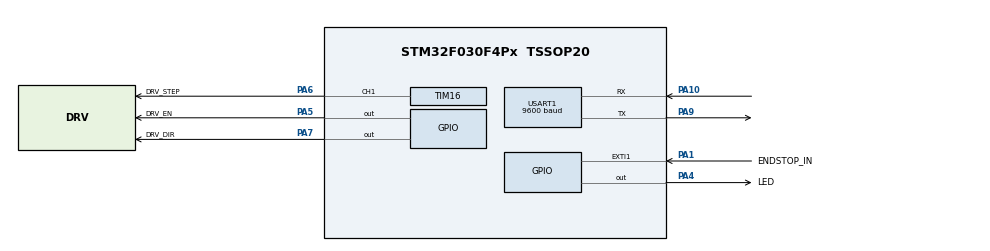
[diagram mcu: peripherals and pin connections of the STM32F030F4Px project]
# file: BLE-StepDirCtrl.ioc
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Mcu.Family=STM32F0
Mcu.Name=STM32F030F4Px
Mcu.Package=TSSOP20
NVIC.EXTI0_1_IRQn=true\:0\:0\:false\:false\:true\:true\:true
NVIC.TIM16_IRQn=true\:0\:0\:false\:false\:true\:true\:true
NVIC.USART1_IRQn=true\:0\:0\:false\:false\:true\:true\:true
PA1.GPIO_Label=ENDSTOP_IN
PA1.GPIO_ModeDefaultEXTI=GPIO_MODE_IT_FALLING
PA1.GPIO_PuPd=GPIO_PULLUP
PA1.Signal=GPXTI1
PA10.Mode=Asynchronous
PA10.Signal=USART1_RX
PA13.Mode=Serial_Wire
PA13.Signal=SYS_SWDIO
PA14.Mode=Serial_Wire
PA14.Signal=SYS_SWCLK
PA4.GPIO_Label=LED
PA4.PinState=GPIO_PIN_SET
PA4.Signal=GPIO_Output
PA5.GPIO_Label=DRV_EN
PA5.GPIO_Speed=GPIO_SPEED_FREQ_HIGH
PA5.PinState=GPIO_PIN_SET
PA5.Signal=GPIO_Output
PA6.GPIO_Label=DRV_STEP
PA6.Signal=S_TIM16_CH1
PA7.GPIO_Label=DRV_DIR
PA7.GPIO_Speed=GPIO_SPEED_FREQ_HIGH
PA7.PinState=GPIO_PIN_RESET
PA7.Signal=GPIO_Output
PA9.Mode=Asynchronous
PA9.Signal=USART1_TX
PF0-OSC_IN.Mode=HSE-External-Oscillator
PF0-OSC_IN.Signal=RCC_OSC_IN
PF1-OSC_OUT.Mode=HSE-External-Oscillator
PF1-OSC_OUT.Signal=RCC_OSC_OUT
ProjectManager.HeapSize=0x200
ProjectManager.StackSize=0x400
ProjectManager.TargetToolchain=STM32CubeIDE
RCC.AHBFreq_Value=48000000
RCC.APB1Freq_Value=48000000
RCC.APB1TimFreq_Value=48000000
RCC.EnbaleCSS=true
RCC.HCLKFreq_Value=48000000
RCC.PLLMUL=RCC_PLL_MUL6
RCC.PLLSourceVirtual=RCC_PLLSOURCE_HSE
RCC.SYSCLKFreq_VALUE=48000000
RCC.SYSCLKSource=RCC_SYSCLKSOURCE_PLLCLK
SH.S_TIM16_CH1.0=TIM16_CH1,PWM Generation1 CH1
TIM16.Channel=TIM_CHANNEL_1
TIM16.Period=500
TIM16.Prescaler=47
TIM16.Pulse=100
USART1.BaudRate=9600
USART1.VirtualMode-Asynchronous=VM_ASYNC
VP_TIM16_VS_ClockSourceINT.Mode=Enable_Timer
board=custom

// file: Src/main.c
/* USER CODE BEGIN Header */
/**
  ****************************************************************************************
  * @file           : main.c
  * @brief          : Main program body
  * @version  		: V1.00
  * @date     		: 14. February 2020
  ****************************************************************************************
  *
  *	 	This fw controls stepper motor driver (TMC2208 in my case) via STEP/DIR
  *		which is supposed to move Z-axis of DIY SLA 3D Printer based on Android phone.
  *		G-Code is received from external BLE module by UART
  *		Supported commands: M17, M18, G28, G1
  *
  ****************************************************************************************
  */
/* USER CODE END Header */

#include "main.h"

/* USER CODE BEGIN Includes */

#include <stdio.h>
#include <string.h>

#define ZMAX_MM 			115
#define STEPS_PER_MM		80

#define __LED_ON          	HAL_GPIO_WritePin(GPIOA, LED_Pin, GPIO_PIN_RESET)
#define __LED_OFF           HAL_GPIO_WritePin(GPIOA, LED_Pin, GPIO_PIN_SET)
#define __DRV_EN_ON       	HAL_GPIO_WritePin(GPIOA, DRV_EN_Pin, GPIO_PIN_RESET)
#define __DRV_EN_OFF        HAL_GPIO_WritePin(GPIOA, DRV_EN_Pin, GPIO_PIN_SET)
#define __DRV_DIR_UP     	HAL_GPIO_WritePin(GPIOA, DRV_DIR_Pin, GPIO_PIN_SET)
#define __DRV_DIR_DOWN      HAL_GPIO_WritePin(GPIOA, DRV_DIR_Pin, GPIO_PIN_RESET)

#define __MOTOR_START		HAL_TIM_PWM_Start_IT(&htim16, TIM_CHANNEL_1)
#define __MOTOR_STOP		HAL_TIM_PWM_Stop_IT(&htim16, TIM_CHANNEL_1)

/*
NEMA17 		1.8 deg / step
TMC2208 	16 microsteps / step
(360 / 1.8) * 16 = 3200 - number of pulses to make 1 revolution

GT2-20T
P = 40 mm
3200 / 40 = 80 - number of pulses to move carriage 1 mm
*/

/* USER CODE END Includes */

TIM_HandleTypeDef htim16;

UART_HandleTypeDef huart1;

/* USER CODE BEGIN PV */

uint8_t rxBufUART[12];
uint8_t rxByteUART;
uint16_t rxDataLength;

int32_t currStep, stepsToMove;
uint8_t isHomeSet, isMotorStarted, isMovingUpHome;
int8_t dir;

/* USER CODE END PV */

void SystemClock_Config(void);
static void MX_GPIO_Init(void);
static void MX_TIM16_Init(void);
static void MX_USART1_UART_Init(void);

/* USER CODE BEGIN 0 */

void UART_SendString(char *data, uint8_t len) {
	HAL_UART_Transmit(&huart1, (uint8_t*)data, len, 100);
	HAL_UART_Transmit(&huart1, (uint8_t*)"\r\n", 2, 100);
}

float str2float(uint8_t *buf) {													// String Parser
	float result = 0;
	uint32_t digit = 1, divRatio = 1;
	for (uint8_t i=(rxDataLength-1); i>3; i--) {								// From last to first digit
		if ((buf[i] == 0x2E) && (divRatio == 1))								// 0x2E == '.'
			divRatio = digit;
		else if ((buf[i] >= 0x30) && (buf[i] <= 0x39)) {						// 0x30 = '0', 0x39 = '9'
			result += (buf[i] - 0x30) * digit;
			digit *= 10;
		}
		else {
			UART_SendString("PARSE ERR", 9);
			result = 1000;
			divRatio = 1;
			break;
		}
	}
	return (result / divRatio);
}

void M17_Handler(void) {														// Enable Steppers
	__DRV_EN_ON;
	UART_SendString("OK M17", 6);
}

void M18_Handler(void) {														// Disable Steppers
	__DRV_EN_OFF;
	isHomeSet = 0;
	UART_SendString("OK M18", 6);
}

void G28_Handler(void) {														// Move to Origin
	if (!isMovingUpHome) {
		isHomeSet = 0;
		if (!HAL_GPIO_ReadPin(GPIOA, DRV_EN_Pin)) {
			UART_SendString("OK G28", 6);
			if (!HAL_GPIO_ReadPin(GPIOA, ENDSTOP_IN_Pin)) {
				__DRV_DIR_UP;
				dir = 1;
				stepsToMove = 15 * STEPS_PER_MM;
				isMovingUpHome = 1;
				isMotorStarted = 1;
				__MOTOR_START;
			}
			else {
				__DRV_DIR_DOWN;
				dir = -1;
				stepsToMove = 150 * STEPS_PER_MM;
				isMotorStarted = 1;
				__MOTOR_START;
			}
		}
		else
			UART_SendString("EN ERR", 6);
	}
	else {
		__DRV_DIR_DOWN;
		dir = -1;
		stepsToMove = 50 * STEPS_PER_MM;
		isMovingUpHome = 0;
		isMotorStarted = 1;
		__MOTOR_START;
	}
}

void G1_Handler(void) {															// Move Z
	if (isHomeSet) {
		float z = str2float(rxBufUART);
		uint32_t zInSteps = (z * STEPS_PER_MM);
		if (zInSteps <= (ZMAX_MM * STEPS_PER_MM)) {
			HAL_UART_Transmit(&huart1, (uint8_t*)"OK ", 3, 100);
			HAL_UART_Transmit(&huart1, rxBufUART, rxDataLength, 100);
			HAL_UART_Transmit(&huart1, (uint8_t*)"\r\n", 2, 100);
			if (zInSteps > currStep) {
				__DRV_DIR_UP;
				dir = 1;
				stepsToMove = zInSteps - currStep;
				isMotorStarted = 1;
				__MOTOR_START;
			}
			else if (zInSteps < currStep) {
				__DRV_DIR_DOWN;
				dir = -1;
				stepsToMove = currStep - zInSteps;
				isMotorStarted = 1;
				__MOTOR_START;
			}
		}
		else if (z != 1000)
			UART_SendString("RNG ERR", 7);
	}
	else
		UART_SendString("HOME ERR", 8);

}

void UART_RxMessageHandler(void) {
	if (rxDataLength == 3) {
		if (!strcmp("M17", (char*)&rxBufUART))
			M17_Handler();
		else if (!strcmp("M18", (char*)&rxBufUART))
			M18_Handler();
		else if (!strcmp("G28", (char*)&rxBufUART))
			G28_Handler();
		else
			UART_SendString("MSG ERR", 7);
	}
	else {
		if (!strncmp("G1 Z", (char*)&rxBufUART, 4))
			G1_Handler();
		else
			UART_SendString("MSG ERR", 7);
	}

	for (uint8_t i=0; i<12; i++)
		rxBufUART[i] = 0;
}

void HAL_UART_RxCpltCallback(UART_HandleTypeDef *huart) {
	if ((rxByteUART != '\r') && (rxByteUART != '\n')) {
		if (rxDataLength < 12) {
			rxBufUART[rxDataLength] = rxByteUART;
			rxDataLength++;
		}
		else {
			UART_SendString("MSG ERR", 7);
			rxDataLength = 0;
		}
		HAL_UART_Receive_IT(&huart1, (uint8_t*)&rxByteUART, 1);
	}
	else if (rxByteUART == '\r') {
		rxDataLength *= 100;
		HAL_UART_Receive_IT(&huart1, (uint8_t*)&rxByteUART, 1);
	}
	else if (rxByteUART == '\n') {
		if (rxDataLength >= 100) {
			rxDataLength /= 100;
			UART_RxMessageHandler();
		}
		else
			UART_SendString("MSG ERR", 7);
		rxDataLength = 0;
		HAL_UART_Receive_IT(&huart1, (uint8_t*)&rxByteUART, 1);
	}
}

void HAL_TIM_PWM_PulseFinishedCallback(TIM_HandleTypeDef *htim) {				// TIM16 Callback
	if (dir > 0)
		currStep++;
	else if (dir < 0)
		currStep--;

	if (stepsToMove > 1) {
		stepsToMove--;
	}
	else {
		__MOTOR_STOP;
		isMotorStarted = 0;
		if (isHomeSet)
			UART_SendString("READY", 5);
		if (isMovingUpHome)
			G28_Handler();
	}
}

void HAL_GPIO_EXTI_Callback(uint16_t GPIO_Pin) {								// EXTI1 IRQ Callback (Z Endstop)
	__MOTOR_STOP;
	isMotorStarted = 0;
	if (!HAL_GPIO_ReadPin(GPIOA, DRV_EN_Pin)) {
		if (!isHomeSet)
			UART_SendString("HOME SET", 8);
		isHomeSet = 1;
		currStep = 0;
	}
}

/* USER CODE END 0 */

int main(void)
{

  /* MCU Configuration--------------------------------------------------------*/

  /* Reset of all peripherals, Initializes the Flash interface and the Systick. */
  HAL_Init();

  /* Configure the system clock */
  SystemClock_Config();

  /* Initialize all configured peripherals */
  MX_GPIO_Init();
  MX_TIM16_Init();
  MX_USART1_UART_Init();
  /* USER CODE BEGIN 2 */

  TIM16->ARR = 1000;
  isHomeSet = 0;
  isMotorStarted = 0;

  UART_SendString("HELLO", 5);

  rxDataLength = 0;
  HAL_UART_Receive_IT(&huart1, (uint8_t*)&rxByteUART, 1);

  /* USER CODE END 2 */

  /* Infinite loop */
  /* USER CODE BEGIN WHILE */
  while (1)
  {
	  asm("NOP");

    /* USER CODE END WHILE */

  }
}

void SystemClock_Config(void)
{
  LL_FLASH_SetLatency(LL_FLASH_LATENCY_1);

  if(LL_FLASH_GetLatency() != LL_FLASH_LATENCY_1)
  {
  Error_Handler();
  }
  LL_RCC_HSE_Enable();

   /* Wait till HSE is ready */
  while(LL_RCC_HSE_IsReady() != 1)
  {

  }
  LL_RCC_HSE_EnableCSS();
  LL_RCC_PLL_ConfigDomain_SYS(LL_RCC_PLLSOURCE_HSE_DIV_1, LL_RCC_PLL_MUL_6);
  LL_RCC_PLL_Enable();

   /* Wait till PLL is ready */
  while(LL_RCC_PLL_IsReady() != 1)
  {

  }
  LL_RCC_SetAHBPrescaler(LL_RCC_SYSCLK_DIV_1);
  LL_RCC_SetAPB1Prescaler(LL_RCC_APB1_DIV_1);
  LL_RCC_SetSysClkSource(LL_RCC_SYS_CLKSOURCE_PLL);

   /* Wait till System clock is ready */
  while(LL_RCC_GetSysClkSource() != LL_RCC_SYS_CLKSOURCE_STATUS_PLL)
  {

  }
  LL_SetSystemCoreClock(48000000);

   /* Update the time base */
  if (HAL_InitTick (TICK_INT_PRIORITY) != HAL_OK)
  {
    Error_Handler();
  };
  LL_RCC_SetUSARTClockSource(LL_RCC_USART1_CLKSOURCE_PCLK1);
}

static void MX_TIM16_Init(void)
{

  TIM_OC_InitTypeDef sConfigOC = {0};
  TIM_BreakDeadTimeConfigTypeDef sBreakDeadTimeConfig = {0};

  htim16.Instance = TIM16;
  htim16.Init.Prescaler = 47;
  htim16.Init.CounterMode = TIM_COUNTERMODE_UP;
  htim16.Init.Period = 500;
  htim16.Init.ClockDivision = TIM_CLOCKDIVISION_DIV1;
  htim16.Init.RepetitionCounter = 0;
  htim16.Init.AutoReloadPreload = TIM_AUTORELOAD_PRELOAD_DISABLE;
  if (HAL_TIM_Base_Init(&htim16) != HAL_OK)
  {
    Error_Handler();
  }
  if (HAL_TIM_PWM_Init(&htim16) != HAL_OK)
  {
    Error_Handler();
  }
  sConfigOC.OCMode = TIM_OCMODE_PWM1;
  sConfigOC.Pulse = 100;
  sConfigOC.OCPolarity = TIM_OCPOLARITY_HIGH;
  sConfigOC.OCNPolarity = TIM_OCNPOLARITY_HIGH;
  sConfigOC.OCFastMode = TIM_OCFAST_DISABLE;
  sConfigOC.OCIdleState = TIM_OCIDLESTATE_RESET;
  sConfigOC.OCNIdleState = TIM_OCNIDLESTATE_RESET;
  if (HAL_TIM_PWM_ConfigChannel(&htim16, &sConfigOC, TIM_CHANNEL_1) != HAL_OK)
  {
    Error_Handler();
  }
  sBreakDeadTimeConfig.OffStateRunMode = TIM_OSSR_DISABLE;
  sBreakDeadTimeConfig.OffStateIDLEMode = TIM_OSSI_DISABLE;
  sBreakDeadTimeConfig.LockLevel = TIM_LOCKLEVEL_OFF;
  sBreakDeadTimeConfig.DeadTime = 0;
  sBreakDeadTimeConfig.BreakState = TIM_BREAK_DISABLE;
  sBreakDeadTimeConfig.BreakPolarity = TIM_BREAKPOLARITY_HIGH;
  sBreakDeadTimeConfig.AutomaticOutput = TIM_AUTOMATICOUTPUT_DISABLE;
  if (HAL_TIMEx_ConfigBreakDeadTime(&htim16, &sBreakDeadTimeConfig) != HAL_OK)
  {
    Error_Handler();
  }
  HAL_TIM_MspPostInit(&htim16);

}

static void MX_USART1_UART_Init(void)
{

  huart1.Instance = USART1;
  huart1.Init.BaudRate = 9600;
  huart1.Init.WordLength = UART_WORDLENGTH_8B;
  huart1.Init.StopBits = UART_STOPBITS_1;
  huart1.Init.Parity = UART_PARITY_NONE;
  huart1.Init.Mode = UART_MODE_TX_RX;
  huart1.Init.HwFlowCtl = UART_HWCONTROL_NONE;
  huart1.Init.OverSampling = UART_OVERSAMPLING_16;
  huart1.Init.OneBitSampling = UART_ONE_BIT_SAMPLE_DISABLE;
  huart1.AdvancedInit.AdvFeatureInit = UART_ADVFEATURE_NO_INIT;
  if (HAL_UART_Init(&huart1) != HAL_OK)
  {
    Error_Handler();
  }

}

static void MX_GPIO_Init(void)
{
  GPIO_InitTypeDef GPIO_InitStruct = {0};

  /* GPIO Ports Clock Enable */
  __HAL_RCC_GPIOF_CLK_ENABLE();
  __HAL_RCC_GPIOA_CLK_ENABLE();

  /*Configure GPIO pin Output Level */
  HAL_GPIO_WritePin(GPIOA, LED_Pin|DRV_EN_Pin, GPIO_PIN_SET);

  /*Configure GPIO pin Output Level */
  HAL_GPIO_WritePin(DRV_DIR_GPIO_Port, DRV_DIR_Pin, GPIO_PIN_RESET);

  /*Configure GPIO pin : ENDSTOP_IN_Pin */
  GPIO_InitStruct.Pin = ENDSTOP_IN_Pin;
  GPIO_InitStruct.Mode = GPIO_MODE_IT_FALLING;
  GPIO_InitStruct.Pull = GPIO_PULLUP;
  HAL_GPIO_Init(ENDSTOP_IN_GPIO_Port, &GPIO_InitStruct);

  /*Configure GPIO pin : LED_Pin */
  GPIO_InitStruct.Pin = LED_Pin;
  GPIO_InitStruct.Mode = GPIO_MODE_OUTPUT_PP;
  GPIO_InitStruct.Pull = GPIO_NOPULL;
  GPIO_InitStruct.Speed = GPIO_SPEED_FREQ_LOW;
  HAL_GPIO_Init(LED_GPIO_Port, &GPIO_InitStruct);

  /*Configure GPIO pins : DRV_EN_Pin DRV_DIR_Pin */
  GPIO_InitStruct.Pin = DRV_EN_Pin|DRV_DIR_Pin;
  GPIO_InitStruct.Mode = GPIO_MODE_OUTPUT_PP;
  GPIO_InitStruct.Pull = GPIO_NOPULL;
  GPIO_InitStruct.Speed = GPIO_SPEED_FREQ_HIGH;
  HAL_GPIO_Init(GPIOA, &GPIO_InitStruct);

  /* EXTI interrupt init*/
  HAL_NVIC_SetPriority(EXTI0_1_IRQn, 0, 0);
  HAL_NVIC_EnableIRQ(EXTI0_1_IRQn);

}

void Error_Handler(void)
{
}

/************************ (C) COPYRIGHT STMicroelectronics *****END OF FILE****/
